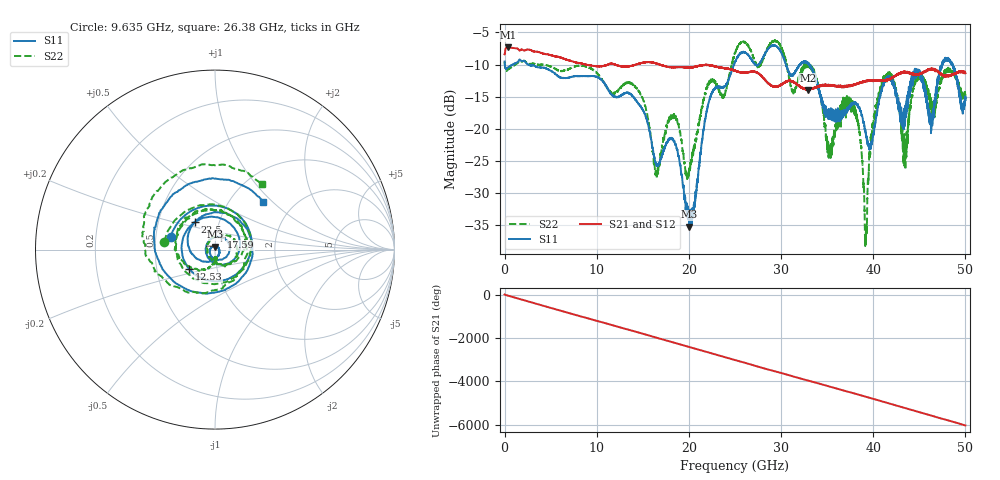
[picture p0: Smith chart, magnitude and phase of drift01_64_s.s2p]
!Created with skrf (http://scikit-rf.org).
# Hz S RI R 50.0
!freq ReS11 ImS11 ReS21 ImS21 ReS12 ImS12 ReS22 ImS22
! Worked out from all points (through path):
!   10001 points, 300 kHz to 50 GHz, reference 50 ohm
!   highest |S21| = -7.33 dB at 385.3 MHz (marker M1); lowest = -14.0 dB at 32.89 GHz (marker M2)
!   group delay of S21, straight-line fit = 335 ps
!   lowest |S11| = -35.3 dB at 20.01 GHz (marker M3), VSWR 1.03, Z = 50.1 + j1.72 ohm
!   |S11| at or under -10 dB: 2.554 GHz to 24.9 GHz (22.35 GHz wide, 163 % of centre); 30.53 GHz to 32.04 GHz (1.509 GHz wide, 4.82 % of centre); 33.07 GHz to 47.44 GHz (14.38 GHz wide, 35.7 % of centre) (the widest 3 of 24)
!   |S22| runs from -38.3 to -6.3 dB; largest |S21 - S12| = 0.0094
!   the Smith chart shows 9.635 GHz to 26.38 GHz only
!   S11 on the Smith chart (normalised r, x): 9.635 GHz: 0.60, +0.09; 12.53 GHz: 0.73, -0.16; 17.59 GHz: 1.06, +0.15; 22.5 GHz: 0.76, +0.24; 26.38 GHz: 1.42, +0.88
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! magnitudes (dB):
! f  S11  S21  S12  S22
! 300 kHz  -9.5  -8.4  -8.5  -9.5
! 385.3 MHz  -10.4  -7.3  -7.3  -10.8
! 8.335 GHz  -11.8  -9.8  -9.9  -10.2
! 9.635 GHz  -11.8  -10.2  -10.2  -10.9
! 12.53 GHz  -14.9  -10.3  -10.3  -13.7
! 16.67 GHz  -25.8  -9.9  -9.9  -26.9
! 17.59 GHz  -22.2  -10.3  -10.3  -19.5
! 20.01 GHz  -35.3  -10.5  -10.5  -26.8
! 22.5 GHz  -14.4  -10.2  -10.2  -12.5
! 25 GHz  -9.6  -11.0  -11.0  -8.2
! 26.38 GHz  -8.4  -11.2  -11.3  -6.9
! 32.89 GHz  -9.9  -14.0  -13.9  -9.9
! 33.34 GHz  -10.8  -13.8  -13.8  -10.6
! 35.27 GHz  -18.4  -13.2  -13.2  -23.2
! 37.94 GHz  -16.1  -13.2  -13.2  -17.0
! 39.18 GHz  -20.5  -12.6  -12.6  -36.8
! 40.11 GHz  -20.1  -12.5  -12.5  -17.9
! 41.67 GHz  -11.8  -12.3  -12.3  -12.0
! 43.44 GHz  -17.5  -11.1  -11.2  -23.5
! 44.84 GHz  -11.0  -11.5  -11.6  -11.5
! 46.23 GHz  -19.1  -10.8  -10.8  -15.5
! 50 GHz  -15.6  -11.4  -11.3  -15.1
